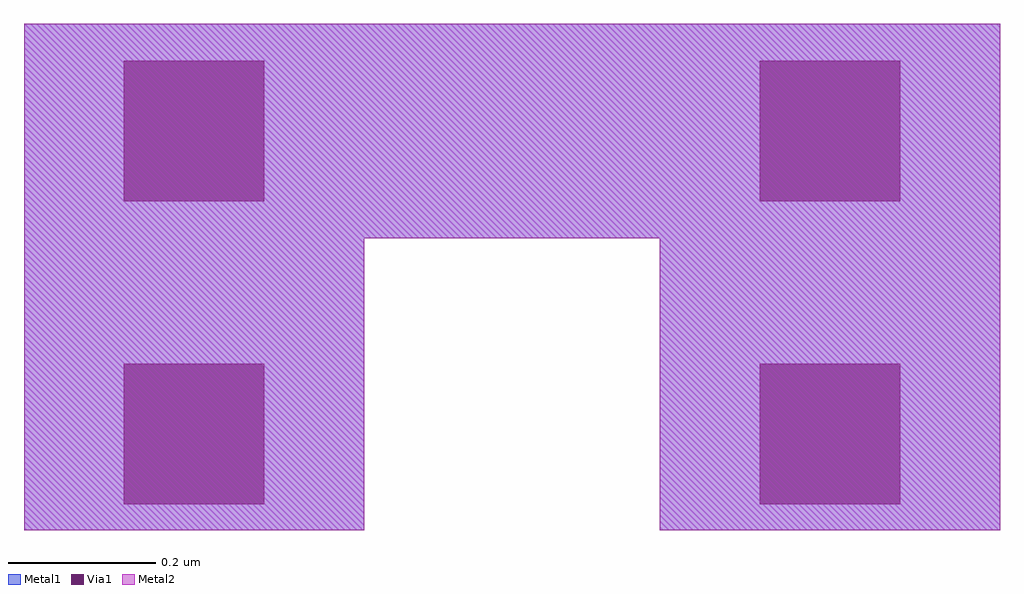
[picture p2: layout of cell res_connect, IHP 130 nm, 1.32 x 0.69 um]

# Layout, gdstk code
import gdstk
lib = gdstk.Library(unit=1e-6, precision=1e-09)
def R(c, l, rs):  # rectangles x0, y0, x1, y1
    for r in rs: c.add(gdstk.rectangle(r[:2], r[2:], *l))
Metal1 = (8, 0)
Metal2 = (10, 0)
Via1 = (19, 0)

via1 = lib.new_cell('via1')
R(via1, Via1, [(-0.095,-0.095,0.095,0.095)])

res_connect = lib.new_cell('res_connect')
R(res_connect, Metal1, [(0,0,0.46,0.685), (0.86,0,1.32,0.685), (0,0.395,1.32,0.685)])
R(res_connect, Metal2, [(0,0,0.46,0.685), (0.86,0,1.32,0.685), (0,0.395,1.32,0.685)])
r = gdstk.Reference(via1, (0.23,0.13)); r.repetition = gdstk.Repetition(1, 2, v1=(0,0), v2=(0,0.41)); res_connect.add(r)
r = gdstk.Reference(via1, (1.09,0.13)); r.repetition = gdstk.Repetition(1, 2, v1=(0,0), v2=(0,0.41)); res_connect.add(r)

lib.write_gds('res_connect.gds')
